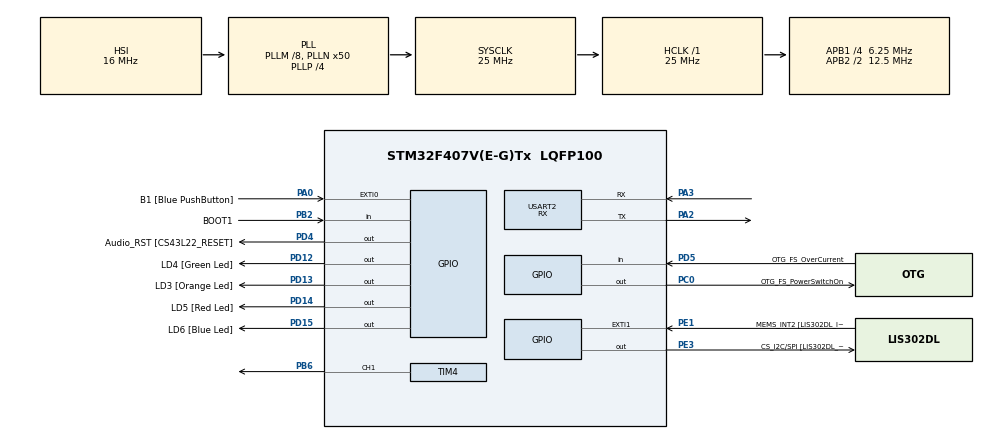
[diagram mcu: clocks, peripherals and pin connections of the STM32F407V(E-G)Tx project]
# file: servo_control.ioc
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Mcu.Family=STM32F4
Mcu.Name=STM32F407V(E-G)Tx
Mcu.Package=LQFP100
NVIC.PriorityGroup=NVIC_PRIORITYGROUP_0
NVIC.TIM4_IRQn=true\:0\:0\:false\:false\:true\:true\:true\:true
NVIC.USART2_IRQn=true\:0\:0\:false\:false\:true\:true\:true\:true
PA0-WKUP.GPIO_Label=B1 [Blue PushButton]
PA0-WKUP.Signal=GPXTI0
PA10.GPIO_Label=OTG_FS_ID
PA10.GPIO_Mode=GPIO_MODE_AF_PP
PA10.GPIO_PuPd=GPIO_NOPULL
PA10.GPIO_Speed=GPIO_SPEED_FREQ_LOW
PA10.Signal=USB_OTG_FS_ID
PA11.GPIO_Label=OTG_FS_DM
PA11.GPIO_Mode=GPIO_MODE_AF_PP
PA11.GPIO_PuPd=GPIO_NOPULL
PA11.GPIO_Speed=GPIO_SPEED_FREQ_LOW
PA11.Signal=USB_OTG_FS_DM
PA12.GPIO_Label=OTG_FS_DP
PA12.GPIO_Mode=GPIO_MODE_AF_PP
PA12.GPIO_PuPd=GPIO_NOPULL
PA12.GPIO_Speed=GPIO_SPEED_FREQ_LOW
PA12.Signal=USB_OTG_FS_DP
PA13.GPIO_Label=SWDIO
PA13.Signal=SYS_JTMS-SWDIO
PA14.GPIO_Label=SWCLK
PA14.Signal=SYS_JTCK-SWCLK
PA2.Mode=Asynchronous
PA2.Signal=USART2_TX
PA3.Mode=Asynchronous
PA3.Signal=USART2_RX
PA4.GPIO_Label=I2S3_WS [CS43L22_LRCK]
PA4.GPIO_Mode=GPIO_MODE_AF_PP
PA4.GPIO_PuPd=GPIO_NOPULL
PA4.GPIO_Speed=GPIO_SPEED_FREQ_LOW
PA4.Signal=I2S3_WS
PA5.GPIO_Label=SPI1_SCK [LIS302DL_SCL/SPC]
PA5.GPIO_Mode=GPIO_MODE_AF_PP
PA5.GPIO_PuPd=GPIO_NOPULL
PA5.GPIO_Speed=GPIO_SPEED_FREQ_LOW
PA5.Signal=SPI1_SCK
PA6.GPIO_Label=SPI1_MISO [LIS302DL_SDO]
PA6.GPIO_Mode=GPIO_MODE_AF_PP
PA6.GPIO_PuPd=GPIO_NOPULL
PA6.GPIO_Speed=GPIO_SPEED_FREQ_LOW
PA6.Signal=SPI1_MISO
PA7.GPIO_Label=SPI1_MOSI [LIS302DL_SDA/SDI/SDO]
PA7.GPIO_Mode=GPIO_MODE_AF_PP
PA7.GPIO_PuPd=GPIO_NOPULL
PA7.GPIO_Speed=GPIO_SPEED_FREQ_LOW
PA7.Signal=SPI1_MOSI
PA9.GPIO_Label=VBUS_FS
PA9.GPIO_Mode=GPIO_MODE_INPUT
PA9.GPIO_PuPd=GPIO_NOPULL
PA9.Signal=USB_OTG_FS_VBUS
PB10.GPIO_Label=CLK_IN [MP45DT02_CLK]
PB10.GPIO_Mode=GPIO_MODE_AF_PP
PB10.GPIO_PuPd=GPIO_NOPULL
PB10.GPIO_Speed=GPIO_SPEED_FREQ_LOW
PB10.Signal=I2S2_CK
PB2.GPIO_Label=BOOT1
PB2.GPIO_Mode=GPIO_MODE_INPUT
PB2.GPIO_PuPd=GPIO_NOPULL
PB2.Signal=GPIO_Input
PB3.Signal=SYS_JTDO-SWO
PB6.Signal=S_TIM4_CH1
PB9.GPIO_Label=Audio_SDA [CS43L22_SDA]
PB9.GPIO_Mode=GPIO_MODE_AF_OD
PB9.GPIO_PuPd=GPIO_NOPULL
PB9.GPIO_Speed=GPIO_SPEED_FREQ_LOW
PB9.Signal=I2C1_SDA
PC0.GPIO_Label=OTG_FS_PowerSwitchOn
PC0.GPIO_PuPd=GPIO_NOPULL
PC0.GPIO_Speed=GPIO_SPEED_FREQ_LOW
PC0.PinState=GPIO_PIN_SET
PC0.Signal=GPIO_Output
PC10.GPIO_Label=I2S3_SCK [CS43L22_SCLK]
PC10.GPIO_Mode=GPIO_MODE_AF_PP
PC10.GPIO_PuPd=GPIO_NOPULL
PC10.GPIO_Speed=GPIO_SPEED_FREQ_LOW
PC10.Signal=I2S3_CK
PC12.GPIO_Label=I2S3_SD [CS43L22_SDIN]
PC12.GPIO_Mode=GPIO_MODE_AF_PP
PC12.GPIO_PuPd=GPIO_NOPULL
PC12.GPIO_Speed=GPIO_SPEED_FREQ_LOW
PC12.Signal=I2S3_SD
PC14-OSC32_IN.GPIO_Label=PC14-OSC32_IN
PC14-OSC32_IN.Signal=RCC_OSC32_IN
PC15-OSC32_OUT.GPIO_Label=PC15-OSC32_OUT
PC15-OSC32_OUT.Signal=RCC_OSC32_OUT
PC3.GPIO_Label=PDM_OUT [MP45DT02_DOUT]
PC3.GPIO_Mode=GPIO_MODE_AF_PP
PC3.GPIO_PuPd=GPIO_NOPULL
PC3.GPIO_Speed=GPIO_SPEED_FREQ_LOW
PC3.Signal=I2S2_SD
PC7.GPIO_Label=I2S3_MCK [CS43L22_MCLK]
PC7.GPIO_Mode=GPIO_MODE_AF_PP
PC7.GPIO_PuPd=GPIO_NOPULL
PC7.GPIO_Speed=GPIO_SPEED_FREQ_LOW
PC7.Signal=I2S3_MCK
PD12.GPIO_Label=LD4 [Green Led]
PD12.GPIO_PuPd=GPIO_NOPULL
PD12.GPIO_Speed=GPIO_SPEED_FREQ_LOW
PD12.Signal=GPIO_Output
PD13.GPIO_Label=LD3 [Orange Led]
PD13.GPIO_PuPd=GPIO_NOPULL
PD13.GPIO_Speed=GPIO_SPEED_FREQ_LOW
PD13.Signal=GPIO_Output
PD14.GPIO_Label=LD5 [Red Led]
PD14.GPIO_PuPd=GPIO_NOPULL
PD14.GPIO_Speed=GPIO_SPEED_FREQ_LOW
PD14.Signal=GPIO_Output
PD15.GPIO_Label=LD6 [Blue Led]
PD15.GPIO_PuPd=GPIO_NOPULL
PD15.GPIO_Speed=GPIO_SPEED_FREQ_LOW
PD15.Signal=GPIO_Output
PD4.GPIO_Label=Audio_RST [CS43L22_RESET]
PD4.GPIO_PuPd=GPIO_NOPULL
PD4.GPIO_Speed=GPIO_SPEED_FREQ_LOW
PD4.Signal=GPIO_Output
PD5.GPIO_Label=OTG_FS_OverCurrent
PD5.GPIO_Mode=GPIO_MODE_INPUT
PD5.GPIO_PuPd=GPIO_NOPULL
PD5.Signal=GPIO_Input
PE1.GPIO_Label=MEMS_INT2 [LIS302DL_INT2]
PE1.GPIO_ModeDefaultEXTI=GPIO_MODE_EVT_RISING
PE1.GPIO_PuPd=GPIO_NOPULL
PE1.Signal=GPXTI1
PE3.GPIO_Label=CS_I2C/SPI [LIS302DL_CS_I2C/SPI]
PE3.GPIO_PuPd=GPIO_NOPULL
PE3.GPIO_Speed=GPIO_SPEED_FREQ_LOW
PE3.Signal=GPIO_Output
PH0-OSC_IN.GPIO_Label=PH0-OSC_IN
PH0-OSC_IN.Signal=RCC_OSC_IN
PH1-OSC_OUT.GPIO_Label=PH1-OSC_OUT
PH1-OSC_OUT.Signal=RCC_OSC_OUT
ProjectManager.HeapSize=0x200
ProjectManager.StackSize=0x400
ProjectManager.TargetToolchain=STM32CubeIDE
RCC.48MHZClocksFreq_Value=14285714.285714285
RCC.AHBFreq_Value=25000000
RCC.APB1CLKDivider=RCC_HCLK_DIV4
RCC.APB1Freq_Value=6250000
RCC.APB1TimFreq_Value=12500000
RCC.APB2CLKDivider=RCC_HCLK_DIV2
RCC.APB2Freq_Value=12500000
RCC.APB2TimFreq_Value=25000000
RCC.CortexFreq_Value=25000000
RCC.HCLKFreq_Value=25000000
RCC.HSE_VALUE=8000000
RCC.HSI_VALUE=16000000
RCC.LSE_VALUE=32768
RCC.PLLM=8
RCC.PLLN=50
RCC.PLLP=RCC_PLLP_DIV4
RCC.PLLQ=7
RCC.SYSCLKFreq_VALUE=25000000
RCC.SYSCLKSource=RCC_SYSCLKSOURCE_PLLCLK
RCC.VCOOutputFreq_Value=100000000
SH.S_TIM4_CH1.0=TIM4_CH1,PWM Generation1 CH1
TIM4.Channel-PWM\ Generation1\ CH1=TIM_CHANNEL_1
TIM4.Period=9999
TIM4.Prescaler=24
TIM4.TIM_MasterSlaveMode=TIM_MASTERSLAVEMODE_DISABLE
USART2.Mode=MODE_RX
USART2.VirtualMode=VM_ASYNC
board=STM32F407G-DISC1

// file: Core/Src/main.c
/* USER CODE BEGIN Header */
/**
  ******************************************************************************
  * @file           : main.c
  * @brief          : Main program body
  ******************************************************************************
  * @attention
  *
  * Copyright (c) 2026 STMicroelectronics.
  * All rights reserved.
  *
  * This software is licensed under terms that can be found in the LICENSE file
  * in the root directory of this software component.
  * If no LICENSE file comes with this software, it is provided AS-IS.
  *
  * ----------------Receiver Board STM32F407---------------------
  * UART RX PIN = PA3
  * PWM_SERVO_PIN = PB6
  ******************************************************************************
  */
/* USER CODE END Header */
#include "main.h"

/* USER CODE BEGIN PD */
#define UART_HEADER   0xAA
#define CMD_NONE      0x00
#define CMD_LEFT      0x01
#define CMD_RIGHT     0x02

#define SERVO_MIN_PULSE     500   // 0 độ (2us/tick)
#define SERVO_MAX_PULSE     1000  // 180 độ
#define SERVO_CENTER_PULSE  750   // 90 độ - vị trí giữa
#define SERVO_STEP          10     // tốc độ đổi góc mỗi lần cập nhật
#define UPDATE_INTERVAL_MS  15    // ~66 lần/giây -> chuyển động mượt

uint16_t currentPulse = SERVO_CENTER_PULSE;
uint32_t lastUpdateTick = 0;

volatile uint8_t receivedCmd = CMD_NONE;
volatile uint32_t lastRxTick = 0;

uint8_t rxByte;
uint8_t rxState = 0;
/* USER CODE END PD */

TIM_HandleTypeDef htim4;

UART_HandleTypeDef huart2;

void SystemClock_Config(void);
static void MX_GPIO_Init(void);
static void MX_TIM4_Init(void);
static void MX_USART2_UART_Init(void);

/* USER CODE BEGIN 0 */
void SetServoPulse(uint16_t pulse){
	__HAL_TIM_SET_COMPARE(&htim4, TIM_CHANNEL_1, pulse);
}

void HAL_UART_RxCpltCallback(UART_HandleTypeDef *huart)
{
    if (huart->Instance == USART2)
    {
        if (rxState == 0)
        {
            if (rxByte == UART_HEADER)
                rxState = 1;
        }
        else
        {
            receivedCmd = rxByte;
            lastRxTick = HAL_GetTick();
            rxState = 0;
        }

        HAL_UART_Receive_IT(&huart2, &rxByte, 1);
    }
}
/* USER CODE END 0 */

int main(void)
{

  /* MCU Configuration--------------------------------------------------------*/

  /* Reset of all peripherals, Initializes the Flash interface and the Systick. */
  HAL_Init();

  /* Configure the system clock */
  SystemClock_Config();

  /* Initialize all configured peripherals */
  MX_GPIO_Init();
  MX_TIM4_Init();
  MX_USART2_UART_Init();
  /* USER CODE BEGIN 2 */
	HAL_TIM_PWM_Start(&htim4, TIM_CHANNEL_1);
	HAL_UART_Receive_IT(&huart2, &rxByte, 1);
  /* USER CODE END 2 */

  /* Infinite loop */
  while (1)
  {

    /* USER CODE BEGIN 3 */
		if (HAL_GetTick() - lastUpdateTick >= UPDATE_INTERVAL_MS) {
			lastUpdateTick = HAL_GetTick();

			uint8_t cmd =
					(HAL_GetTick() - lastRxTick > 200) ? CMD_NONE : receivedCmd;

			if (cmd == CMD_LEFT) {
				if (currentPulse > SERVO_MIN_PULSE)
					currentPulse -= SERVO_STEP;
			} else if (cmd == CMD_RIGHT) {
				if (currentPulse < SERVO_MAX_PULSE)
					currentPulse += SERVO_STEP;
			} else {
				if (currentPulse < SERVO_CENTER_PULSE)
					currentPulse += SERVO_STEP;
				else if (currentPulse > SERVO_CENTER_PULSE)
					currentPulse -= SERVO_STEP;
			}

			SetServoPulse(currentPulse);
		}
	}
  /* USER CODE END 3 */
}

void SystemClock_Config(void)
{
  RCC_OscInitTypeDef RCC_OscInitStruct = {0};
  RCC_ClkInitTypeDef RCC_ClkInitStruct = {0};

  /** Configure the main internal regulator output voltage
  */
  __HAL_RCC_PWR_CLK_ENABLE();
  __HAL_PWR_VOLTAGESCALING_CONFIG(PWR_REGULATOR_VOLTAGE_SCALE1);

  /** Initializes the RCC Oscillators according to the specified parameters
  * in the RCC_OscInitTypeDef structure.
  */
  RCC_OscInitStruct.OscillatorType = RCC_OSCILLATORTYPE_HSI;
  RCC_OscInitStruct.HSIState = RCC_HSI_ON;
  RCC_OscInitStruct.HSICalibrationValue = RCC_HSICALIBRATION_DEFAULT;
  RCC_OscInitStruct.PLL.PLLState = RCC_PLL_ON;
  RCC_OscInitStruct.PLL.PLLSource = RCC_PLLSOURCE_HSI;
  RCC_OscInitStruct.PLL.PLLM = 8;
  RCC_OscInitStruct.PLL.PLLN = 50;
  RCC_OscInitStruct.PLL.PLLP = RCC_PLLP_DIV4;
  RCC_OscInitStruct.PLL.PLLQ = 7;
  if (HAL_RCC_OscConfig(&RCC_OscInitStruct) != HAL_OK)
  {
    Error_Handler();
  }

  /** Initializes the CPU, AHB and APB buses clocks
  */
  RCC_ClkInitStruct.ClockType = RCC_CLOCKTYPE_HCLK|RCC_CLOCKTYPE_SYSCLK
                              |RCC_CLOCKTYPE_PCLK1|RCC_CLOCKTYPE_PCLK2;
  RCC_ClkInitStruct.SYSCLKSource = RCC_SYSCLKSOURCE_PLLCLK;
  RCC_ClkInitStruct.AHBCLKDivider = RCC_SYSCLK_DIV1;
  RCC_ClkInitStruct.APB1CLKDivider = RCC_HCLK_DIV4;
  RCC_ClkInitStruct.APB2CLKDivider = RCC_HCLK_DIV2;

  if (HAL_RCC_ClockConfig(&RCC_ClkInitStruct, FLASH_LATENCY_0) != HAL_OK)
  {
    Error_Handler();
  }
}

static void MX_TIM4_Init(void)
{

  TIM_MasterConfigTypeDef sMasterConfig = {0};
  TIM_OC_InitTypeDef sConfigOC = {0};

  htim4.Instance = TIM4;
  htim4.Init.Prescaler = 24;
  htim4.Init.CounterMode = TIM_COUNTERMODE_UP;
  htim4.Init.Period = 9999;
  htim4.Init.ClockDivision = TIM_CLOCKDIVISION_DIV1;
  htim4.Init.AutoReloadPreload = TIM_AUTORELOAD_PRELOAD_DISABLE;
  if (HAL_TIM_PWM_Init(&htim4) != HAL_OK)
  {
    Error_Handler();
  }
  sMasterConfig.MasterOutputTrigger = TIM_TRGO_RESET;
  sMasterConfig.MasterSlaveMode = TIM_MASTERSLAVEMODE_DISABLE;
  if (HAL_TIMEx_MasterConfigSynchronization(&htim4, &sMasterConfig) != HAL_OK)
  {
    Error_Handler();
  }
  sConfigOC.OCMode = TIM_OCMODE_PWM1;
  sConfigOC.Pulse = 0;
  sConfigOC.OCPolarity = TIM_OCPOLARITY_HIGH;
  sConfigOC.OCFastMode = TIM_OCFAST_DISABLE;
  if (HAL_TIM_PWM_ConfigChannel(&htim4, &sConfigOC, TIM_CHANNEL_1) != HAL_OK)
  {
    Error_Handler();
  }
  HAL_TIM_MspPostInit(&htim4);

}

static void MX_USART2_UART_Init(void)
{

  huart2.Instance = USART2;
  huart2.Init.BaudRate = 115200;
  huart2.Init.WordLength = UART_WORDLENGTH_8B;
  huart2.Init.StopBits = UART_STOPBITS_1;
  huart2.Init.Parity = UART_PARITY_NONE;
  huart2.Init.Mode = UART_MODE_RX;
  huart2.Init.HwFlowCtl = UART_HWCONTROL_NONE;
  huart2.Init.OverSampling = UART_OVERSAMPLING_16;
  if (HAL_UART_Init(&huart2) != HAL_OK)
  {
    Error_Handler();
  }

}

static void MX_GPIO_Init(void)
{
  GPIO_InitTypeDef GPIO_InitStruct = {0};

  /* GPIO Ports Clock Enable */
  __HAL_RCC_GPIOE_CLK_ENABLE();
  __HAL_RCC_GPIOC_CLK_ENABLE();
  __HAL_RCC_GPIOH_CLK_ENABLE();
  __HAL_RCC_GPIOA_CLK_ENABLE();
  __HAL_RCC_GPIOB_CLK_ENABLE();
  __HAL_RCC_GPIOD_CLK_ENABLE();

  /*Configure GPIO pin Output Level */
  HAL_GPIO_WritePin(CS_I2C_SPI_GPIO_Port, CS_I2C_SPI_Pin, GPIO_PIN_RESET);

  /*Configure GPIO pin Output Level */
  HAL_GPIO_WritePin(OTG_FS_PowerSwitchOn_GPIO_Port, OTG_FS_PowerSwitchOn_Pin, GPIO_PIN_SET);

  /*Configure GPIO pin Output Level */
  HAL_GPIO_WritePin(GPIOD, LD4_Pin|LD3_Pin|LD5_Pin|LD6_Pin
                          |Audio_RST_Pin, GPIO_PIN_RESET);

  /*Configure GPIO pin : CS_I2C_SPI_Pin */
  GPIO_InitStruct.Pin = CS_I2C_SPI_Pin;
  GPIO_InitStruct.Mode = GPIO_MODE_OUTPUT_PP;
  GPIO_InitStruct.Pull = GPIO_NOPULL;
  GPIO_InitStruct.Speed = GPIO_SPEED_FREQ_LOW;
  HAL_GPIO_Init(CS_I2C_SPI_GPIO_Port, &GPIO_InitStruct);

  /*Configure GPIO pin : OTG_FS_PowerSwitchOn_Pin */
  GPIO_InitStruct.Pin = OTG_FS_PowerSwitchOn_Pin;
  GPIO_InitStruct.Mode = GPIO_MODE_OUTPUT_PP;
  GPIO_InitStruct.Pull = GPIO_NOPULL;
  GPIO_InitStruct.Speed = GPIO_SPEED_FREQ_LOW;
  HAL_GPIO_Init(OTG_FS_PowerSwitchOn_GPIO_Port, &GPIO_InitStruct);

  /*Configure GPIO pin : PDM_OUT_Pin */
  GPIO_InitStruct.Pin = PDM_OUT_Pin;
  GPIO_InitStruct.Mode = GPIO_MODE_AF_PP;
  GPIO_InitStruct.Pull = GPIO_NOPULL;
  GPIO_InitStruct.Speed = GPIO_SPEED_FREQ_LOW;
  GPIO_InitStruct.Alternate = GPIO_AF5_SPI2;
  HAL_GPIO_Init(PDM_OUT_GPIO_Port, &GPIO_InitStruct);

  /*Configure GPIO pin : B1_Pin */
  GPIO_InitStruct.Pin = B1_Pin;
  GPIO_InitStruct.Mode = GPIO_MODE_IT_RISING;
  GPIO_InitStruct.Pull = GPIO_NOPULL;
  HAL_GPIO_Init(B1_GPIO_Port, &GPIO_InitStruct);

  /*Configure GPIO pin : I2S3_WS_Pin */
  GPIO_InitStruct.Pin = I2S3_WS_Pin;
  GPIO_InitStruct.Mode = GPIO_MODE_AF_PP;
  GPIO_InitStruct.Pull = GPIO_NOPULL;
  GPIO_InitStruct.Speed = GPIO_SPEED_FREQ_LOW;
  GPIO_InitStruct.Alternate = GPIO_AF6_SPI3;
  HAL_GPIO_Init(I2S3_WS_GPIO_Port, &GPIO_InitStruct);

  /*Configure GPIO pins : SPI1_SCK_Pin SPI1_MISO_Pin SPI1_MOSI_Pin */
  GPIO_InitStruct.Pin = SPI1_SCK_Pin|SPI1_MISO_Pin|SPI1_MOSI_Pin;
  GPIO_InitStruct.Mode = GPIO_MODE_AF_PP;
  GPIO_InitStruct.Pull = GPIO_NOPULL;
  GPIO_InitStruct.Speed = GPIO_SPEED_FREQ_LOW;
  GPIO_InitStruct.Alternate = GPIO_AF5_SPI1;
  HAL_GPIO_Init(GPIOA, &GPIO_InitStruct);

  /*Configure GPIO pin : BOOT1_Pin */
  GPIO_InitStruct.Pin = BOOT1_Pin;
  GPIO_InitStruct.Mode = GPIO_MODE_INPUT;
  GPIO_InitStruct.Pull = GPIO_NOPULL;
  HAL_GPIO_Init(BOOT1_GPIO_Port, &GPIO_InitStruct);

  /*Configure GPIO pin : CLK_IN_Pin */
  GPIO_InitStruct.Pin = CLK_IN_Pin;
  GPIO_InitStruct.Mode = GPIO_MODE_AF_PP;
  GPIO_InitStruct.Pull = GPIO_NOPULL;
  GPIO_InitStruct.Speed = GPIO_SPEED_FREQ_LOW;
  GPIO_InitStruct.Alternate = GPIO_AF5_SPI2;
  HAL_GPIO_Init(CLK_IN_GPIO_Port, &GPIO_InitStruct);

  /*Configure GPIO pins : LD4_Pin LD3_Pin LD5_Pin LD6_Pin
                           Audio_RST_Pin */
  GPIO_InitStruct.Pin = LD4_Pin|LD3_Pin|LD5_Pin|LD6_Pin
                          |Audio_RST_Pin;
  GPIO_InitStruct.Mode = GPIO_MODE_OUTPUT_PP;
  GPIO_InitStruct.Pull = GPIO_NOPULL;
  GPIO_InitStruct.Speed = GPIO_SPEED_FREQ_LOW;
  HAL_GPIO_Init(GPIOD, &GPIO_InitStruct);

  /*Configure GPIO pins : I2S3_MCK_Pin I2S3_SCK_Pin I2S3_SD_Pin */
  GPIO_InitStruct.Pin = I2S3_MCK_Pin|I2S3_SCK_Pin|I2S3_SD_Pin;
  GPIO_InitStruct.Mode = GPIO_MODE_AF_PP;
  GPIO_InitStruct.Pull = GPIO_NOPULL;
  GPIO_InitStruct.Speed = GPIO_SPEED_FREQ_LOW;
  GPIO_InitStruct.Alternate = GPIO_AF6_SPI3;
  HAL_GPIO_Init(GPIOC, &GPIO_InitStruct);

  /*Configure GPIO pin : VBUS_FS_Pin */
  GPIO_InitStruct.Pin = VBUS_FS_Pin;
  GPIO_InitStruct.Mode = GPIO_MODE_INPUT;
  GPIO_InitStruct.Pull = GPIO_NOPULL;
  HAL_GPIO_Init(VBUS_FS_GPIO_Port, &GPIO_InitStruct);

  /*Configure GPIO pins : OTG_FS_ID_Pin OTG_FS_DM_Pin OTG_FS_DP_Pin */
  GPIO_InitStruct.Pin = OTG_FS_ID_Pin|OTG_FS_DM_Pin|OTG_FS_DP_Pin;
  GPIO_InitStruct.Mode = GPIO_MODE_AF_PP;
  GPIO_InitStruct.Pull = GPIO_NOPULL;
  GPIO_InitStruct.Speed = GPIO_SPEED_FREQ_LOW;
  GPIO_InitStruct.Alternate = GPIO_AF10_OTG_FS;
  HAL_GPIO_Init(GPIOA, &GPIO_InitStruct);

  /*Configure GPIO pin : OTG_FS_OverCurrent_Pin */
  GPIO_InitStruct.Pin = OTG_FS_OverCurrent_Pin;
  GPIO_InitStruct.Mode = GPIO_MODE_INPUT;
  GPIO_InitStruct.Pull = GPIO_NOPULL;
  HAL_GPIO_Init(OTG_FS_OverCurrent_GPIO_Port, &GPIO_InitStruct);

  /*Configure GPIO pin : Audio_SDA_Pin */
  GPIO_InitStruct.Pin = Audio_SDA_Pin;
  GPIO_InitStruct.Mode = GPIO_MODE_AF_OD;
  GPIO_InitStruct.Pull = GPIO_NOPULL;
  GPIO_InitStruct.Speed = GPIO_SPEED_FREQ_LOW;
  GPIO_InitStruct.Alternate = GPIO_AF4_I2C1;
  HAL_GPIO_Init(Audio_SDA_GPIO_Port, &GPIO_InitStruct);

  /*Configure GPIO pin : MEMS_INT2_Pin */
  GPIO_InitStruct.Pin = MEMS_INT2_Pin;
  GPIO_InitStruct.Mode = GPIO_MODE_EVT_RISING;
  GPIO_InitStruct.Pull = GPIO_NOPULL;
  HAL_GPIO_Init(MEMS_INT2_GPIO_Port, &GPIO_InitStruct);

}

void Error_Handler(void)
{
  __disable_irq();
  while (1)
  {
  }
}
